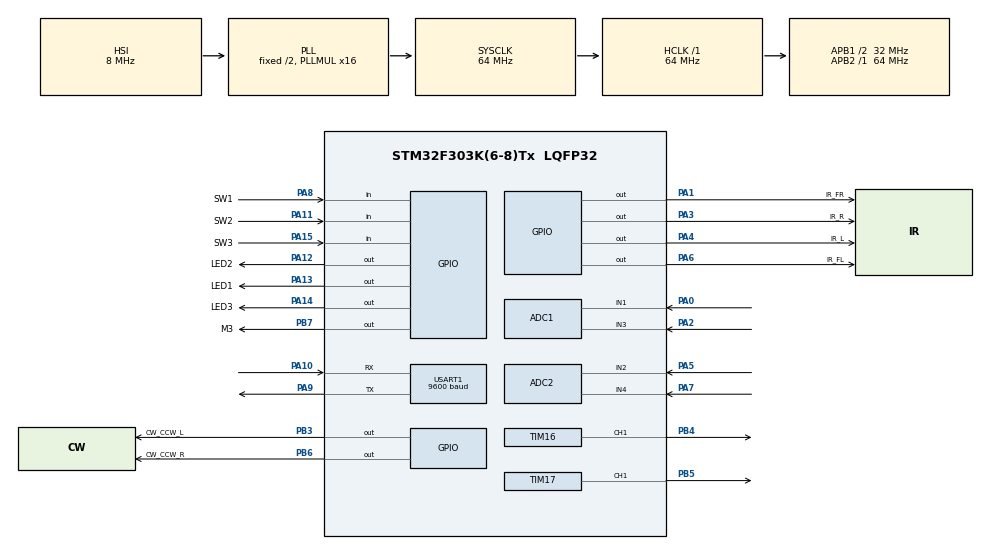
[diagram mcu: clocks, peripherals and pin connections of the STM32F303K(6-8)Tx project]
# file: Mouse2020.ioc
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ADC1.Channel-0\#ChannelRegularConversion=ADC_CHANNEL_1
ADC1.EnableInjectedConversion=DISABLE
ADC1.NbrOfConversionFlag=1
ADC1.Offset-0\#ChannelRegularConversion=0
ADC1.OffsetNumber-0\#ChannelRegularConversion=ADC_OFFSET_NONE
ADC1.Rank-0\#ChannelRegularConversion=1
ADC1.SamplingTime-0\#ChannelRegularConversion=ADC_SAMPLETIME_1CYCLE_5
ADC1.SubFamily=STM32F303x8
ADC1.master=1
ADC2.Channel-0\#ChannelRegularConversion=ADC_CHANNEL_2
ADC2.EnableInjectedConversion=DISABLE
ADC2.NbrOfConversionFlag=1
ADC2.Offset-0\#ChannelRegularConversion=0
ADC2.OffsetNumber-0\#ChannelRegularConversion=ADC_OFFSET_NONE
ADC2.Rank-0\#ChannelRegularConversion=1
ADC2.SamplingTime-0\#ChannelRegularConversion=ADC_SAMPLETIME_1CYCLE_5
ADC2.SubFamily=STM32F303x8
Mcu.Family=STM32F3
Mcu.Name=STM32F303K(6-8)Tx
Mcu.Package=LQFP32
NVIC.PriorityGroup=NVIC_PRIORITYGROUP_4
NVIC.TIM1_TRG_COM_TIM17_IRQn=true\:0\:0\:false\:false\:true\:true\:true\:true
NVIC.TIM1_UP_TIM16_IRQn=true\:0\:0\:false\:false\:true\:true\:true\:true
NVIC.TIM6_DAC1_IRQn=true\:0\:0\:false\:false\:true\:true\:true\:true
PA0.Mode=IN1-Single-Ended
PA0.Signal=ADC1_IN1
PA1.GPIO_Label=IR_FR
PA1.Signal=GPIO_Output
PA10.Mode=Asynchronous
PA10.Signal=USART1_RX
PA11.GPIO_Label=SW2
PA11.GPIO_PuPd=GPIO_PULLUP
PA11.Signal=GPIO_Input
PA12.GPIO_Label=LED2
PA12.Signal=GPIO_Output
PA13.GPIO_Label=LED1
PA13.Signal=GPIO_Output
PA14.GPIO_Label=LED3
PA14.Signal=GPIO_Output
PA15.GPIO_Label=SW3
PA15.GPIO_PuPd=GPIO_PULLUP
PA15.Signal=GPIO_Input
PA2.Mode=IN3-Single-Ended
PA2.Signal=ADC1_IN3
PA3.GPIO_Label=IR_R
PA3.Signal=GPIO_Output
PA4.GPIO_Label=IR_L
PA4.Signal=GPIO_Output
PA5.Mode=IN2-Single-Ended
PA5.Signal=ADC2_IN2
PA6.GPIO_Label=IR_FL
PA6.Signal=GPIO_Output
PA7.Mode=IN4-Single-Ended
PA7.Signal=ADC2_IN4
PA8.GPIO_Label=SW1
PA8.GPIO_PuPd=GPIO_PULLUP
PA8.Signal=GPIO_Input
PA9.Mode=Asynchronous
PA9.Signal=USART1_TX
PB3.GPIO_Label=CW_CCW_L
PB3.Signal=GPIO_Output
PB4.Signal=S_TIM16_CH1
PB5.Signal=S_TIM17_CH1
PB6.GPIO_Label=CW_CCW_R
PB6.Signal=GPIO_Output
PB7.GPIO_Label=M3
PB7.Signal=GPIO_Output
ProjectManager.HeapSize=0x200
ProjectManager.StackSize=0x400
ProjectManager.TargetToolchain=STM32CubeIDE
RCC.AHBFreq_Value=64000000
RCC.APB1CLKDivider=RCC_HCLK_DIV2
RCC.APB1Freq_Value=32000000
RCC.APB1TimFreq_Value=64000000
RCC.APB2Freq_Value=64000000
RCC.APB2TimFreq_Value=64000000
RCC.CortexFreq_Value=64000000
RCC.HCLKFreq_Value=64000000
RCC.HSE_VALUE=8000000
RCC.HSI_VALUE=8000000
RCC.PLLMUL=RCC_PLL_MUL16
RCC.SYSCLKFreq_VALUE=64000000
RCC.SYSCLKSourceVirtual=RCC_SYSCLKSOURCE_PLLCLK
SH.S_TIM16_CH1.0=TIM16_CH1,PWM Generation1 CH1
SH.S_TIM17_CH1.0=TIM17_CH1,PWM Generation1 CH1
TIM16.Channel=TIM_CHANNEL_1
TIM16.Prescaler=64-1
TIM16.Pulse=25
TIM17.Channel=TIM_CHANNEL_1
TIM17.Prescaler=64-1
TIM17.Pulse=25
TIM6.Period=4000
TIM6.Prescaler=64-1
USART1.BaudRate=9600
USART1.VirtualMode-Asynchronous=VM_ASYNC
VP_TIM16_VS_ClockSourceINT.Mode=Enable_Timer
VP_TIM17_VS_ClockSourceINT.Mode=Enable_Timer
VP_TIM6_VS_ClockSourceINT.Mode=Enable_Timer
board=custom

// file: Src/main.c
//Windowsで追記（２０２３，２，５）
<<<<<<< HEAD
//Macで追記（2023、2、21）
=======
//WindowsCubeIDEで追記（２０２３，２，９）

>>>>>>> 6d166eb693e3f6a6435664450797514ab6aca0d2

/* USER CODE BEGIN Header */

/************************************************************
    WMMC Micromouse 標準プログラム 2020
    2007~2012     H8/3694f版が運用される
    2013/03/01    LPC向けに移植 by 長谷川 健人
    2013/09/20    標準化のため色々弄る by 高橋 有礼
    2017/11/12    STM32向けに移植
    2019/05/01    STM32/CubeHAL向けに移植
 ************************************************************/

/**
  ******************************************************************************
  * @file           : main.c
  * @brief          : Main program body
  ******************************************************************************
  * @attention
  *
  * <h2><center>&copy; Copyright (c) 2019 STMicroelectronics.
  * All rights reserved.</center></h2>
  *
  * This software component is licensed by ST under BSD 3-Clause license,
  * the "License"; You may not use this file except in compliance with the
  * License. You may obtain a copy of the License at:
  *                        opensource.org/licenses/BSD-3-Clause
  *
  ******************************************************************************
  */
/* USER CODE END Header */
#include "main.h"

/* USER CODE BEGIN Includes */

#define MAIN_C_
#include "global.h"

/* USER CODE END Includes */

 ADC_HandleTypeDef hadc1;
ADC_HandleTypeDef hadc2;

TIM_HandleTypeDef htim6;
TIM_HandleTypeDef htim16;
TIM_HandleTypeDef htim17;

UART_HandleTypeDef huart1;

void SystemClock_Config(void);
static void MX_GPIO_Init(void);
static void MX_ADC1_Init(void);
static void MX_ADC2_Init(void);
static void MX_USART1_UART_Init(void);
static void MX_TIM16_Init(void);
static void MX_TIM17_Init(void);
static void MX_TIM6_Init(void);

int main(void)
{

  /* MCU Configuration--------------------------------------------------------*/

  /* Reset of all peripherals, Initializes the Flash interface and the Systick. */
  HAL_Init();

  /* Configure the system clock */
  SystemClock_Config();

  /* Initialize all configured peripherals */
  MX_GPIO_Init();
  MX_ADC1_Init();
  MX_ADC2_Init();
  MX_USART1_UART_Init();
  MX_TIM16_Init();
  MX_TIM17_Init();
  MX_TIM6_Init();
  /* USER CODE BEGIN 2 */

  setbuf(stdout, NULL);   //printf用

  sensor_init();          //センサ系の変数の初期化，ADコンバータの設定とセンサ値取得に使用するタイマの設定
                          //sensor.c で定義されている
  drive_init();           //走行系の変数の初期化，モーター関係のGPIO設定とPWM出力に使うタイマの設定
                          //drive.c で定義されている
  search_init();          //探索系の変数の初期化，search.c で定義されている

  printf("***** WMMC Mouse 2020 *****\n");

  //====変数宣言====
  int mode = 0;

  /* USER CODE END 2 */

  /* Infinite loop */
  /* USER CODE BEGIN WHILE */
  while (1)
  {

    //====モード選択====
    mode = select_mode(mode);     //select_mode(); は auxiliary.c で定義されている

    //----選択項目の実行----
    switch(mode){

      case 0:
        //----基準値を取る----
        printf("Get Base Value.\n");
        get_base();               //壁制御のための基準値取得，sensor.c で定義されている
        break;

      case 1:
        //----一次探索走行（1区画走行）----
        printf("First Run. (Discontinuous)\n");
        drive_enable_motor();     //ステッピングモータを励磁，drive.c で定義されている
        get_wall_info();

        MF.FLAG.SCND = 0;         //二次走行フラグをクリア，マウスフラグは global.h に定義あり
        goal_x = GOAL_X;
        goal_y = GOAL_Y;          //ゴール座標を設定，GOAL_X・GOAL_Y は global.h に定義あり

        rotate_R90();             //右に90度回転する，drive.c で定義されている
        drive_wait();             //機体が安定するまで待機，drive.h に定義あり
        set_position(0);          //尻当てをして機体の位置を中央へ，drive.c で定義されている
        drive_wait();             //機体が安定するまで待機
        rotate_L90();             //左に90度回転する，drive.c で定義されている
        drive_wait();             //機体が安定するまで待機
        set_position(0);          //尻当てをして機体の位置を中央へ
        get_base();
        drive_wait();             //機体が安定するまで待機

        searchA();                //現在位置（スタート地点）からゴール座標まで探索走行（1区画走行）
        HAL_Delay(500);

        goal_x = goal_y = 0;      //ゴール座標をスタート地点に設定する
        searchA();                //探索しながらスタート地点に戻る（1区画走行）

        goal_x = GOAL_X;
        goal_y = GOAL_Y;          //ゴール座標を設定

        drive_disable_motor();    //ステッピングモータの励磁を切る
        break;

      case 2:
        //----二次探索走行（1区画走行）----
        printf("Second Run. (Discontinuous)\n");
        drive_enable_motor();

        MF.FLAG.SCND = 1;         //二次走行フラグをセット
        goal_x = GOAL_X;
        goal_y = GOAL_Y;

        rotate_R90();
        drive_wait();
        set_position(0);
        drive_wait();
        rotate_L90();
        drive_wait();
        set_position(0);
        drive_wait();

        searchA();
        HAL_Delay(500);

        goal_x = goal_y = 0;
        searchA();

        goal_x = GOAL_X;
        goal_y = GOAL_Y;

        drive_disable_motor();
        break;

      case 3:
        /******************** Mission ! *********************
         * search.c 内にある searchB(); 関数は未完成である !
         * searchB(); 関数を完成させて連続走行プログラムを完成させろ !
         ****************************************************/

        /*
        //----一次探索走行（連続走行）----
        printf("First Run. (Continuous)\n");
        drive_enable_motor();

        MF.FLAG.SCND = 0;
        goal_x = GOAL_X;
        goal_y = GOAL_Y;

        rotate_R90();
        drive_wait();
        set_position(0);
        drive_wait();
        rotate_L90();
        drive_wait();
        set_position(0);
        drive_wait();

        searchB();
        HAL_Delay(500);

        goal_x = goal_y = 0;
        searchB();

        goal_x = GOAL_X;
        goal_y = GOAL_Y;

        drive_disable_motor();
        break;
        */

      case 4:
        break;

      case 5:
        break;

      case 6:
        //----テスト走行----
        printf("Test Run.\n");
        test_run();       //test_run(); は drive.c で定義されている
        break;

      case 7:
        //----センサチェック----
        printf("Sensor Check.\n");
        while(1){
          get_wall_info();
          led_write(wall_info & 0x11, wall_info & 0x88, wall_info & 0x44);
          printf(" ad_l : %4d, ad_fl : %4d, ad_fr : %4d, ad_r : %4d\n", ad_l, ad_fl, ad_fr, ad_r);
          printf("dif_l : %4d, dif_r : %4d\n", dif_l, dif_r);
          if(wall_info & 0x11){
            printf("Left : [X], ");
          }else{
            printf("Left : [ ], ");
          }
          if(wall_info & 0x88){
            printf("Front : [X], ");
          }else{
            printf("Front : [ ], ");
          }
          if(wall_info & 0x44){
            printf("Right : [X]\n");
          }else{
            printf("Right : [ ]\n");
          }

          HAL_Delay(333);
        }
        break;

    }

    /* USER CODE END WHILE */

  }
}

void SystemClock_Config(void)
{
  RCC_OscInitTypeDef RCC_OscInitStruct = {0};
  RCC_ClkInitTypeDef RCC_ClkInitStruct = {0};
  RCC_PeriphCLKInitTypeDef PeriphClkInit = {0};

  /** Initializes the RCC Oscillators according to the specified parameters
  * in the RCC_OscInitTypeDef structure.
  */
  RCC_OscInitStruct.OscillatorType = RCC_OSCILLATORTYPE_HSI;
  RCC_OscInitStruct.HSIState = RCC_HSI_ON;
  RCC_OscInitStruct.HSICalibrationValue = RCC_HSICALIBRATION_DEFAULT;
  RCC_OscInitStruct.PLL.PLLState = RCC_PLL_ON;
  RCC_OscInitStruct.PLL.PLLSource = RCC_PLLSOURCE_HSI;
  RCC_OscInitStruct.PLL.PLLMUL = RCC_PLL_MUL16;
  if (HAL_RCC_OscConfig(&RCC_OscInitStruct) != HAL_OK)
  {
    Error_Handler();
  }

  /** Initializes the CPU, AHB and APB buses clocks
  */
  RCC_ClkInitStruct.ClockType = RCC_CLOCKTYPE_HCLK|RCC_CLOCKTYPE_SYSCLK
                              |RCC_CLOCKTYPE_PCLK1|RCC_CLOCKTYPE_PCLK2;
  RCC_ClkInitStruct.SYSCLKSource = RCC_SYSCLKSOURCE_PLLCLK;
  RCC_ClkInitStruct.AHBCLKDivider = RCC_SYSCLK_DIV1;
  RCC_ClkInitStruct.APB1CLKDivider = RCC_HCLK_DIV2;
  RCC_ClkInitStruct.APB2CLKDivider = RCC_HCLK_DIV1;

  if (HAL_RCC_ClockConfig(&RCC_ClkInitStruct, FLASH_LATENCY_2) != HAL_OK)
  {
    Error_Handler();
  }
  PeriphClkInit.PeriphClockSelection = RCC_PERIPHCLK_USART1|RCC_PERIPHCLK_ADC12;
  PeriphClkInit.Usart1ClockSelection = RCC_USART1CLKSOURCE_PCLK1;
  PeriphClkInit.Adc12ClockSelection = RCC_ADC12PLLCLK_DIV1;
  if (HAL_RCCEx_PeriphCLKConfig(&PeriphClkInit) != HAL_OK)
  {
    Error_Handler();
  }
}

static void MX_ADC1_Init(void)
{

  ADC_MultiModeTypeDef multimode = {0};
  ADC_ChannelConfTypeDef sConfig = {0};

  /** Common config
  */
  hadc1.Instance = ADC1;
  hadc1.Init.ClockPrescaler = ADC_CLOCK_ASYNC_DIV1;
  hadc1.Init.Resolution = ADC_RESOLUTION_12B;
  hadc1.Init.ScanConvMode = ADC_SCAN_DISABLE;
  hadc1.Init.ContinuousConvMode = DISABLE;
  hadc1.Init.DiscontinuousConvMode = DISABLE;
  hadc1.Init.ExternalTrigConvEdge = ADC_EXTERNALTRIGCONVEDGE_NONE;
  hadc1.Init.ExternalTrigConv = ADC_SOFTWARE_START;
  hadc1.Init.DataAlign = ADC_DATAALIGN_RIGHT;
  hadc1.Init.NbrOfConversion = 1;
  hadc1.Init.DMAContinuousRequests = DISABLE;
  hadc1.Init.EOCSelection = ADC_EOC_SINGLE_CONV;
  hadc1.Init.LowPowerAutoWait = DISABLE;
  hadc1.Init.Overrun = ADC_OVR_DATA_OVERWRITTEN;
  if (HAL_ADC_Init(&hadc1) != HAL_OK)
  {
    Error_Handler();
  }

  /** Configure the ADC multi-mode
  */
  multimode.Mode = ADC_MODE_INDEPENDENT;
  if (HAL_ADCEx_MultiModeConfigChannel(&hadc1, &multimode) != HAL_OK)
  {
    Error_Handler();
  }

  /** Configure Regular Channel
  */
  sConfig.Channel = ADC_CHANNEL_1;
  sConfig.Rank = ADC_REGULAR_RANK_1;
  sConfig.SingleDiff = ADC_SINGLE_ENDED;
  sConfig.SamplingTime = ADC_SAMPLETIME_1CYCLE_5;
  sConfig.OffsetNumber = ADC_OFFSET_NONE;
  sConfig.Offset = 0;
  if (HAL_ADC_ConfigChannel(&hadc1, &sConfig) != HAL_OK)
  {
    Error_Handler();
  }

}

static void MX_ADC2_Init(void)
{

  ADC_ChannelConfTypeDef sConfig = {0};

  /** Common config
  */
  hadc2.Instance = ADC2;
  hadc2.Init.ClockPrescaler = ADC_CLOCK_ASYNC_DIV1;
  hadc2.Init.Resolution = ADC_RESOLUTION_12B;
  hadc2.Init.ScanConvMode = ADC_SCAN_DISABLE;
  hadc2.Init.ContinuousConvMode = DISABLE;
  hadc2.Init.DiscontinuousConvMode = DISABLE;
  hadc2.Init.ExternalTrigConvEdge = ADC_EXTERNALTRIGCONVEDGE_NONE;
  hadc2.Init.ExternalTrigConv = ADC_SOFTWARE_START;
  hadc2.Init.DataAlign = ADC_DATAALIGN_RIGHT;
  hadc2.Init.NbrOfConversion = 1;
  hadc2.Init.DMAContinuousRequests = DISABLE;
  hadc2.Init.EOCSelection = ADC_EOC_SINGLE_CONV;
  hadc2.Init.LowPowerAutoWait = DISABLE;
  hadc2.Init.Overrun = ADC_OVR_DATA_OVERWRITTEN;
  if (HAL_ADC_Init(&hadc2) != HAL_OK)
  {
    Error_Handler();
  }

  /** Configure Regular Channel
  */
  sConfig.Channel = ADC_CHANNEL_2;
  sConfig.Rank = ADC_REGULAR_RANK_1;
  sConfig.SingleDiff = ADC_SINGLE_ENDED;
  sConfig.SamplingTime = ADC_SAMPLETIME_1CYCLE_5;
  sConfig.OffsetNumber = ADC_OFFSET_NONE;
  sConfig.Offset = 0;
  if (HAL_ADC_ConfigChannel(&hadc2, &sConfig) != HAL_OK)
  {
    Error_Handler();
  }

}

static void MX_TIM6_Init(void)
{

  TIM_MasterConfigTypeDef sMasterConfig = {0};

  htim6.Instance = TIM6;
  htim6.Init.Prescaler = 64-1;
  htim6.Init.CounterMode = TIM_COUNTERMODE_UP;
  htim6.Init.Period = 4000;
  htim6.Init.AutoReloadPreload = TIM_AUTORELOAD_PRELOAD_DISABLE;
  if (HAL_TIM_Base_Init(&htim6) != HAL_OK)
  {
    Error_Handler();
  }
  sMasterConfig.MasterOutputTrigger = TIM_TRGO_RESET;
  sMasterConfig.MasterSlaveMode = TIM_MASTERSLAVEMODE_DISABLE;
  if (HAL_TIMEx_MasterConfigSynchronization(&htim6, &sMasterConfig) != HAL_OK)
  {
    Error_Handler();
  }

}

static void MX_TIM16_Init(void)
{

  TIM_OC_InitTypeDef sConfigOC = {0};
  TIM_BreakDeadTimeConfigTypeDef sBreakDeadTimeConfig = {0};

  htim16.Instance = TIM16;
  htim16.Init.Prescaler = 64-1;
  htim16.Init.CounterMode = TIM_COUNTERMODE_UP;
  htim16.Init.Period = 65535;
  htim16.Init.ClockDivision = TIM_CLOCKDIVISION_DIV1;
  htim16.Init.RepetitionCounter = 0;
  htim16.Init.AutoReloadPreload = TIM_AUTORELOAD_PRELOAD_DISABLE;
  if (HAL_TIM_Base_Init(&htim16) != HAL_OK)
  {
    Error_Handler();
  }
  if (HAL_TIM_PWM_Init(&htim16) != HAL_OK)
  {
    Error_Handler();
  }
  sConfigOC.OCMode = TIM_OCMODE_PWM1;
  sConfigOC.Pulse = 25;
  sConfigOC.OCPolarity = TIM_OCPOLARITY_HIGH;
  sConfigOC.OCNPolarity = TIM_OCNPOLARITY_HIGH;
  sConfigOC.OCFastMode = TIM_OCFAST_DISABLE;
  sConfigOC.OCIdleState = TIM_OCIDLESTATE_RESET;
  sConfigOC.OCNIdleState = TIM_OCNIDLESTATE_RESET;
  if (HAL_TIM_PWM_ConfigChannel(&htim16, &sConfigOC, TIM_CHANNEL_1) != HAL_OK)
  {
    Error_Handler();
  }
  sBreakDeadTimeConfig.OffStateRunMode = TIM_OSSR_DISABLE;
  sBreakDeadTimeConfig.OffStateIDLEMode = TIM_OSSI_DISABLE;
  sBreakDeadTimeConfig.LockLevel = TIM_LOCKLEVEL_OFF;
  sBreakDeadTimeConfig.DeadTime = 0;
  sBreakDeadTimeConfig.BreakState = TIM_BREAK_DISABLE;
  sBreakDeadTimeConfig.BreakPolarity = TIM_BREAKPOLARITY_HIGH;
  sBreakDeadTimeConfig.BreakFilter = 0;
  sBreakDeadTimeConfig.AutomaticOutput = TIM_AUTOMATICOUTPUT_DISABLE;
  if (HAL_TIMEx_ConfigBreakDeadTime(&htim16, &sBreakDeadTimeConfig) != HAL_OK)
  {
    Error_Handler();
  }
  HAL_TIM_MspPostInit(&htim16);

}

static void MX_TIM17_Init(void)
{

  TIM_OC_InitTypeDef sConfigOC = {0};
  TIM_BreakDeadTimeConfigTypeDef sBreakDeadTimeConfig = {0};

  htim17.Instance = TIM17;
  htim17.Init.Prescaler = 64-1;
  htim17.Init.CounterMode = TIM_COUNTERMODE_UP;
  htim17.Init.Period = 65535;
  htim17.Init.ClockDivision = TIM_CLOCKDIVISION_DIV1;
  htim17.Init.RepetitionCounter = 0;
  htim17.Init.AutoReloadPreload = TIM_AUTORELOAD_PRELOAD_DISABLE;
  if (HAL_TIM_Base_Init(&htim17) != HAL_OK)
  {
    Error_Handler();
  }
  if (HAL_TIM_PWM_Init(&htim17) != HAL_OK)
  {
    Error_Handler();
  }
  sConfigOC.OCMode = TIM_OCMODE_PWM1;
  sConfigOC.Pulse = 25;
  sConfigOC.OCPolarity = TIM_OCPOLARITY_HIGH;
  sConfigOC.OCNPolarity = TIM_OCNPOLARITY_HIGH;
  sConfigOC.OCFastMode = TIM_OCFAST_DISABLE;
  sConfigOC.OCIdleState = TIM_OCIDLESTATE_RESET;
  sConfigOC.OCNIdleState = TIM_OCNIDLESTATE_RESET;
  if (HAL_TIM_PWM_ConfigChannel(&htim17, &sConfigOC, TIM_CHANNEL_1) != HAL_OK)
  {
    Error_Handler();
  }
  sBreakDeadTimeConfig.OffStateRunMode = TIM_OSSR_DISABLE;
  sBreakDeadTimeConfig.OffStateIDLEMode = TIM_OSSI_DISABLE;
  sBreakDeadTimeConfig.LockLevel = TIM_LOCKLEVEL_OFF;
  sBreakDeadTimeConfig.DeadTime = 0;
  sBreakDeadTimeConfig.BreakState = TIM_BREAK_DISABLE;
  sBreakDeadTimeConfig.BreakPolarity = TIM_BREAKPOLARITY_HIGH;
  sBreakDeadTimeConfig.BreakFilter = 0;
  sBreakDeadTimeConfig.AutomaticOutput = TIM_AUTOMATICOUTPUT_DISABLE;
  if (HAL_TIMEx_ConfigBreakDeadTime(&htim17, &sBreakDeadTimeConfig) != HAL_OK)
  {
    Error_Handler();
  }
  HAL_TIM_MspPostInit(&htim17);

}

static void MX_USART1_UART_Init(void)
{

  huart1.Instance = USART1;
  huart1.Init.BaudRate = 9600;
  huart1.Init.WordLength = UART_WORDLENGTH_8B;
  huart1.Init.StopBits = UART_STOPBITS_1;
  huart1.Init.Parity = UART_PARITY_NONE;
  huart1.Init.Mode = UART_MODE_TX_RX;
  huart1.Init.HwFlowCtl = UART_HWCONTROL_NONE;
  huart1.Init.OverSampling = UART_OVERSAMPLING_16;
  huart1.Init.OneBitSampling = UART_ONE_BIT_SAMPLE_DISABLE;
  huart1.AdvancedInit.AdvFeatureInit = UART_ADVFEATURE_NO_INIT;
  if (HAL_UART_Init(&huart1) != HAL_OK)
  {
    Error_Handler();
  }

}

static void MX_GPIO_Init(void)
{
  GPIO_InitTypeDef GPIO_InitStruct = {0};

  /* GPIO Ports Clock Enable */
  __HAL_RCC_GPIOA_CLK_ENABLE();
  __HAL_RCC_GPIOB_CLK_ENABLE();

  /*Configure GPIO pin Output Level */
  HAL_GPIO_WritePin(GPIOA, IR_FR_Pin|IR_R_Pin|IR_L_Pin|IR_FL_Pin
                          |LED2_Pin|LED1_Pin|LED3_Pin, GPIO_PIN_RESET);

  /*Configure GPIO pin Output Level */
  HAL_GPIO_WritePin(GPIOB, CW_CCW_L_Pin|CW_CCW_R_Pin|M3_Pin, GPIO_PIN_RESET);

  /*Configure GPIO pins : IR_FR_Pin IR_R_Pin IR_L_Pin IR_FL_Pin
                           LED2_Pin LED1_Pin LED3_Pin */
  GPIO_InitStruct.Pin = IR_FR_Pin|IR_R_Pin|IR_L_Pin|IR_FL_Pin
                          |LED2_Pin|LED1_Pin|LED3_Pin;
  GPIO_InitStruct.Mode = GPIO_MODE_OUTPUT_PP;
  GPIO_InitStruct.Pull = GPIO_NOPULL;
  GPIO_InitStruct.Speed = GPIO_SPEED_FREQ_LOW;
  HAL_GPIO_Init(GPIOA, &GPIO_InitStruct);

  /*Configure GPIO pins : SW1_Pin SW2_Pin SW3_Pin */
  GPIO_InitStruct.Pin = SW1_Pin|SW2_Pin|SW3_Pin;
  GPIO_InitStruct.Mode = GPIO_MODE_INPUT;
  GPIO_InitStruct.Pull = GPIO_PULLUP;
  HAL_GPIO_Init(GPIOA, &GPIO_InitStruct);

  /*Configure GPIO pins : CW_CCW_L_Pin CW_CCW_R_Pin M3_Pin */
  GPIO_InitStruct.Pin = CW_CCW_L_Pin|CW_CCW_R_Pin|M3_Pin;
  GPIO_InitStruct.Mode = GPIO_MODE_OUTPUT_PP;
  GPIO_InitStruct.Pull = GPIO_NOPULL;
  GPIO_InitStruct.Speed = GPIO_SPEED_FREQ_LOW;
  HAL_GPIO_Init(GPIOB, &GPIO_InitStruct);

}

void Error_Handler(void)
{
}
